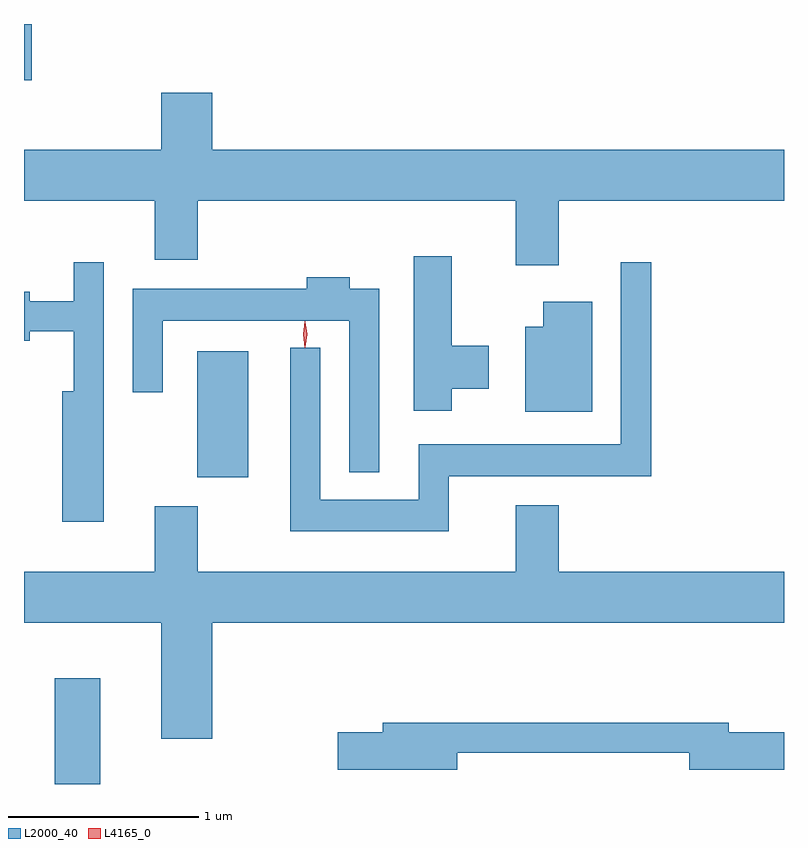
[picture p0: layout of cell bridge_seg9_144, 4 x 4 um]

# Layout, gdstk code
import gdstk
lib = gdstk.Library(unit=1e-6, precision=1e-09)
def R(c, l, rs):  # rectangles x0, y0, x1, y1
    for r in rs: c.add(gdstk.rectangle(r[:2], r[2:], *l))
def P(c, l, *ps):  # polygons
    for p in ps: c.add(gdstk.Polygon(p, *l))
L2000_40 = (2000, 40)
L4165_0 = (4165, 0)

bridge_seg9_144 = lib.new_cell('bridge_seg9_144')
R(bridge_seg9_144, L2000_40, [(1413.316,2055.347,1413.554,2055.904), (1414.066,2056.961,1414.334,2057.624), (1413.154,2059.051,1413.194,2059.347)])
P(bridge_seg9_144, L2000_40, [(1415.969,2058.416),(1417.154,2058.416),(1417.154,2058.684),(1414.144,2058.684),(1414.144,2058.984),(1413.876,2058.984),(1413.876,2058.684),(1413.154,2058.684),(1413.154,2058.416),(1413.841,2058.416),(1413.841,2058.106),(1414.069,2058.106),(1414.069,2058.416),(1415.741,2058.416),(1415.741,2058.076),(1415.969,2058.076)],
  [(1415.404,2057.426),(1415.599,2057.426),(1415.599,2057.654),(1415.404,2057.654),(1415.404,2058.124),(1415.206,2058.124),(1415.206,2057.311),(1415.404,2057.311)],
  [(1415.389,2056.966),(1416.454,2056.966),(1416.454,2058.093),(1416.296,2058.093),(1416.296,2057.134),(1415.231,2057.134),(1415.231,2056.844),(1414.714,2056.844),(1414.714,2057.643),(1414.556,2057.643),(1414.556,2056.676),(1415.389,2056.676)],
  [(1413.574,2058.093),(1413.416,2058.093),(1413.416,2057.889),(1413.184,2057.889),(1413.184,2057.939),(1413.154,2057.939),(1413.154,2057.681),(1413.184,2057.681),(1413.184,2057.731),(1413.416,2057.731),(1413.416,2057.414),(1413.356,2057.414),(1413.356,2056.726),(1413.574,2056.726)],
  [(1415.024,2057.954),(1414.869,2057.954),(1414.869,2058.014),(1414.641,2058.014),(1414.641,2057.954),(1413.726,2057.954),(1413.726,2057.408),(1413.884,2057.408),(1413.884,2057.786),(1414.866,2057.786),(1414.866,2056.988),(1415.024,2056.988)],
  [(1416.144,2057.884),(1415.886,2057.884),(1415.886,2057.754),(1415.791,2057.754),(1415.791,2057.306),(1416.144,2057.306)],
  [(1414.144,2056.196),(1417.154,2056.196),(1417.154,2056.464),(1415.969,2056.464),(1415.969,2056.814),(1415.741,2056.814),(1415.741,2056.464),(1414.069,2056.464),(1414.069,2056.809),(1413.841,2056.809),(1413.841,2056.464),(1413.154,2056.464),(1413.154,2056.196),(1413.876,2056.196),(1413.876,2055.586),(1414.144,2055.586)],
  [(1415.434,2055.511),(1416.656,2055.511),(1416.656,2055.421),(1417.154,2055.421),(1417.154,2055.619),(1416.864,2055.619),(1416.864,2055.669),(1415.041,2055.669),(1415.041,2055.619),(1414.806,2055.619),(1414.806,2055.421),(1415.434,2055.421)])
P(bridge_seg9_144, L4165_0, [(1414.632,2057.644),(1414.623,2057.713),(1414.632,2057.782),(1414.633,2057.783),(1414.634,2057.782),(1414.643,2057.713),(1414.634,2057.644),(1414.633,2057.644)],
  [(1414.634,2057.647),(1414.634,2057.647),(1414.624,2057.714),(1414.634,2057.78),(1414.634,2057.78),(1414.635,2057.78),(1414.644,2057.714),(1414.635,2057.647)])

lib.write_gds('bridge_seg9_144.gds')
